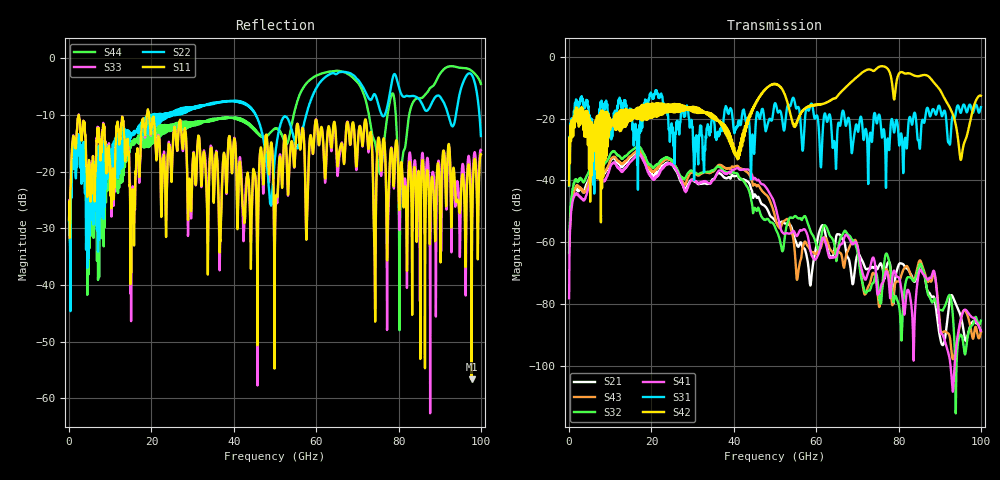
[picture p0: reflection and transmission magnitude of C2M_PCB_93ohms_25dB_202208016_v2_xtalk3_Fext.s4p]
! Info: Touchstone file created by Circ.  Input file=Intel_C2M_200G_10p5in_202208016_staggered.circ
# Hz S RI R 50
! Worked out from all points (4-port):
!   10000 points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, 10 MHz to 100 GHz, reference 50 ohm
!   strongest paths, dB at 10 MHz, 25.01 GHz, 50.01 GHz, 75.01 GHz, 100 GHz:
!     S42: -41.5, -16.9, -8.6, -3.4, -12.5
!     S31: -41.8, -23.8, -14.9, -19.7, -16.2
!     S41: -78.1, -34.9, -48.0, -76.9, -88.8
!     S32: -63.6, -33.5, -55.2, -73.6, -85.4
!     S43: -63.1, -33.7, -51.7, -77.7, -89.0
!     S21: -61.1, -35.0, -53.1, -68.4, -89.0
!   lowest |S11| = -56.6 dB at 97.76 GHz (marker M1), VSWR 1.00, Z = 50.1 - j0.0533 ohm
!   |S11| at or under -10 dB: start of sweep to 18.88 GHz; 19.43 GHz to end of sweep
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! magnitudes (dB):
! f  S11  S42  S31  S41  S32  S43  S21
! 10 MHz  -28.4  -41.5  -41.8  -78.1  -63.6  -63.1  -61.1
! 1.44 GHz  -15.8  -17.5  -14.8  -44.7  -39.8  -42.4  -42.7
! 16.86 GHz  -17.4  -18.4  -28.3  -31.7  -29.0  -30.2  -30.7
! 66.36 GHz  -15.5  -10.9  -17.7  -60.4  -57.6  -65.4  -59.0
! 80.35 GHz  -22.1  -5.0  -27.0  -72.6  -83.1  -72.1  -66.8
! 97.76 GHz  -56.6  -18.5  -17.0  -84.2  -87.0  -89.6  -86.2
! 100 GHz  -16.9  -12.5  -16.2  -88.8  -85.4  -89.0  -89.0
